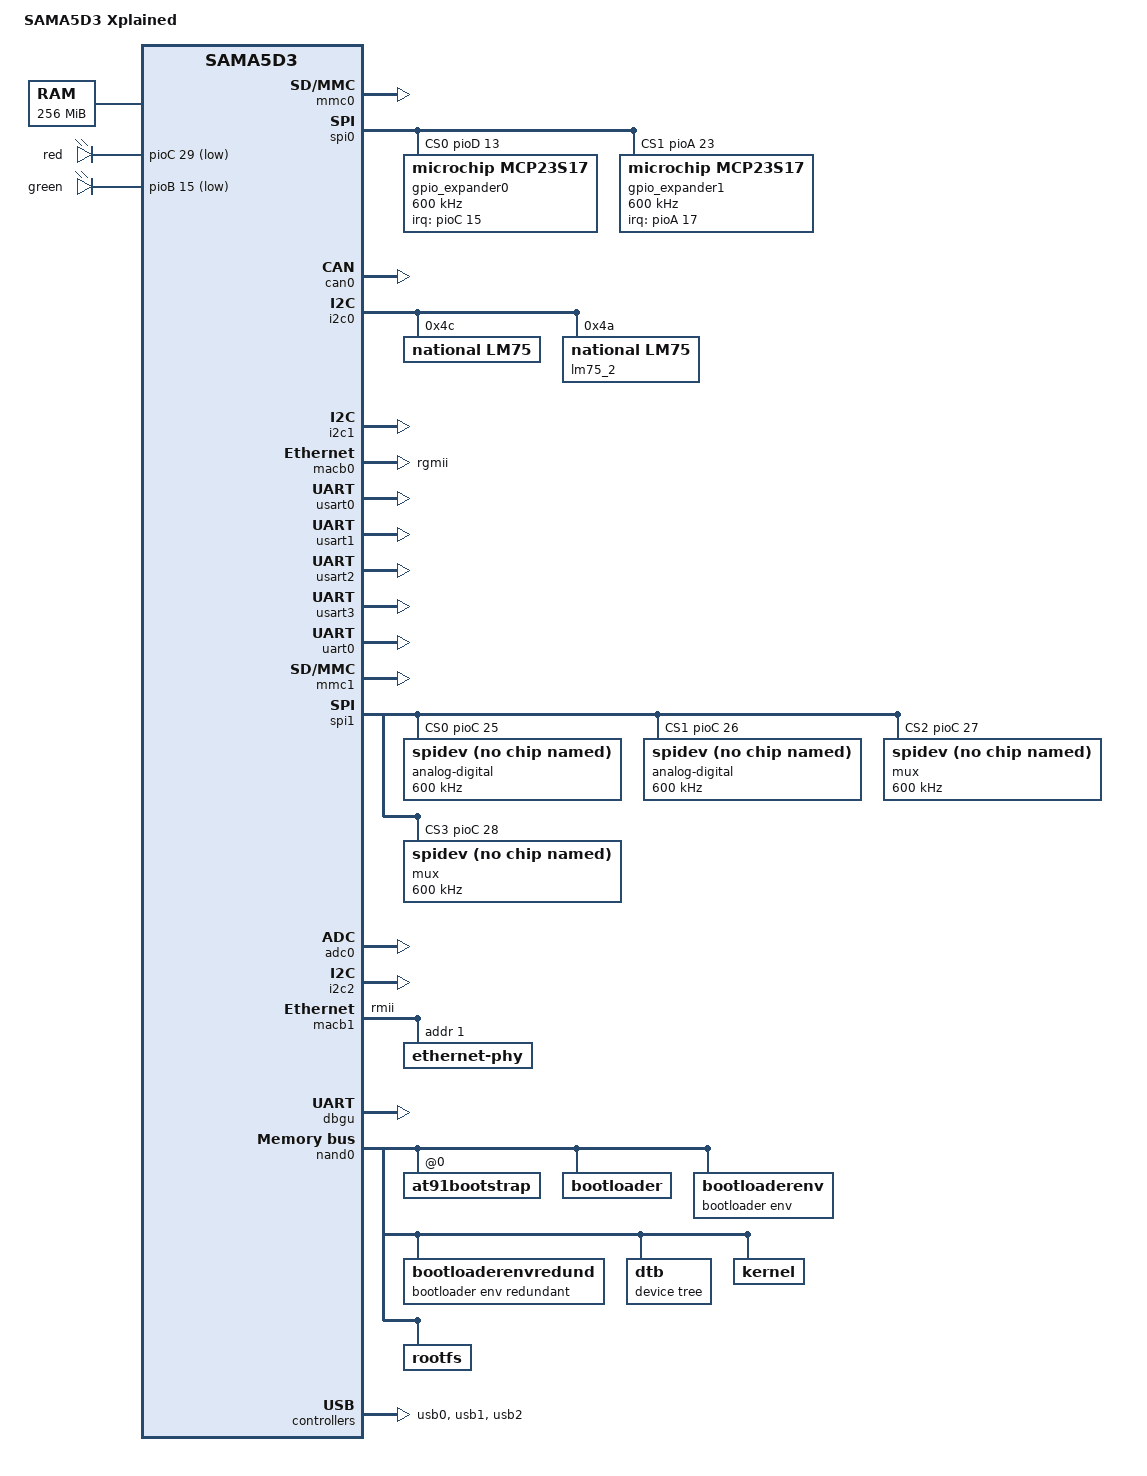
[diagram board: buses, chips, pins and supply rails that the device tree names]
/*
 * rctu.dts - for RCTU
 *
 *  Copyright (C) 2014 Atmel,
 *		  2014 Nicolas Ferre <nicolas.ferre@atmel.com>
 *
 * Licensed under GPLv2 or later.
 */
/dts-v1/;
#include "sama5d36.dtsi"

/ {
	model = "SAMA5D3 Xplained";
	compatible = "atmel,sama5d3-xplained", "atmel,sama5d3", "atmel,sama5";

	chosen {
		bootargs = "console=ttyS0,115200";
	};

	memory {
		reg = <0x20000000 0x10000000>;
	};

	clocks {
		slow_xtal {
			clock-frequency = <32768>;
		};
		
		main_xtal { 
			clock-frequency = <12000000>;
		};
	};

	ahb {
		apb {
			mmc0: mmc@f0000000 {
				pinctrl-0 = <&pinctrl_mmc0_clk_cmd_dat0 &pinctrl_mmc0_dat1_3 &pinctrl_mmc0_dat4_7 &pinctrl_mmc0_cd>;
				status = "okay";
				slot@0 {
					reg = <0>;
					bus-width = <8>;
					//cd-gpios = <&pioE 0 GPIO_ACTIVE_LOW>;
				};
			};

			spi0: spi@f0004000 {
				cs-gpios = <&pioD 13 0>, <&pioA 23 0>;
				status = "okay";

				gpio_expander0: microchip@0 {
					compatible = "microchip,mcp23s17";
					#gpio-cells = <2>;
					gpio-controller;
					spi-max-frequency = <600000>;
					reg = <0>;
					microchip,spi-present-mask=<2>;
					microchip,irq-mirror;
					interrupt-controller;
					interrupt-parent = <&pioC>;
					interrupts = <15 IRQ_TYPE_LEVEL_LOW>;
					#interrupt-cells=<2>;
				};

				gpio_expander1: microchip@1 {
					compatible = "microchip,mcp23s17";
					#gpio-cells = <2>;
					gpio-controller;
					spi-max-frequency = <600000>;
					reg = <1>;
					microchip,spi-present-mask=<1>;
					microchip,irq-mirror;
					interrupt-controller;
					interrupt-parent = <&pioA>;
					interrupts = <17 IRQ_TYPE_LEVEL_LOW>;
					#interrupt-cells=<2>;
				};
			};

			can0: can@f000c000 {
				status = "okay";
			};

			i2c0: i2c@f0014000 {
				status = "okay";

				lm75: lm75@4c {
					/* I don't know why this string is 'national,lm75'.
					 * There's no .compatible in the I2C driver for it,
					 * so I'm not sure how it's getting probed.  It does
					 * work though, so i dunno */
					compatible = "national,lm75";
					reg = <0x4c>;
				};
				lm75_2: lm75@4a {
					/* Cold junction temperature sensor */
					compatible = "national,lm75";
					reg = <0x4a>;
				};
			};

			i2c1: i2c@f0018000 {
				status = "okay";
			};

			macb0: ethernet@f0028000 {
				phy-mode = "rgmii";
				status = "okay";
			};

			usart0: serial@f001c000 {
				pinctrl-0 = <&pinctrl_usart0 &pinctrl_usart0_rts_cts>;
				status = "okay";
			};

			usart1: serial@f0020000 {
				pinctrl-0 = <&pinctrl_usart1 &pinctrl_usart1_rts_cts>;
				status = "okay";
			};

			usart2: serial@f8020000 {
				pinctrl-0 = <&pinctrl_usart2 &pinctrl_usart2_rts_cts>;
				status = "okay";
			};

			usart3: serial@f8024000 {
				pinctrl-0 = <&pinctrl_usart3 &pinctrl_usart3_rts_cts>;
				status = "okay";
			};

			uart0: serial@f0024000 {
				status = "okay";
			};

			mmc1: mmc@f8000000 {
				pinctrl-0 = <&pinctrl_mmc1_clk_cmd_dat0 &pinctrl_mmc1_dat1_3 &pinctrl_mmc1_cd>;
				status = "okay";
				slot@0 {
					reg = <0>;
					bus-width = <4>;
					//cd-gpios = <&pioE 1 GPIO_ACTIVE_HIGH>;
				};
			};

			spi1: spi@f8008000 {
				/* Default chip select lines */
				cs-gpios = <&pioC 25 0>, <&pioC 26 0>, <&pioC 27 0>, <&pioC 28 0>;
				status = "okay";
				analog-digital@0{
					compatible = "spidev";
					spi-max-frequency = <600000>;
					reg = <0>;
				};

				analog-digital@1{
					compatible = "spidev";
					spi-max-frequency = <600000>;
					reg = <1>;
				};

				mux@2{
					compatible = "spidev";
					spi-max-frequency = <600000>;
					reg = <2>;
				};

				mux@3{
					compatible = "spidev";
					spi-max-frequency = <600000>;
					reg = <3>;
				};

			};

			adc0: adc@f8018000 {
				pinctrl-0 = <
					&pinctrl_adc0_adtrg
					&pinctrl_adc0_ad0
					&pinctrl_adc0_ad1
					&pinctrl_adc0_ad2
					&pinctrl_adc0_ad3
					&pinctrl_adc0_ad4
					&pinctrl_adc0_ad5
					&pinctrl_adc0_ad6
					&pinctrl_adc0_ad7
					>;
				status = "okay";
				//atmel,adc-channels-used = <0x0ff>;
				/* this trgper value should give us ~2000 interrupts per second */
				atmel,adc-trgper = <1500>;
			};

			i2c2: i2c@f801c000 {
				dmas = <0>, <0>;	/* Do not use DMA for i2c2 */
				status = "okay";
			};

			macb1: ethernet@f802c000 {
				phy-mode = "rmii";
				#address-cells = <1>;
				#size-cells = <0>;
				status = "okay";

				ethernet-phy@1 {
					reg = <0x1>;
				};
			};

			dbgu: serial@ffffee00 {
				status = "okay";
			};

			pinctrl@fffff200 {
				board {
					pinctrl_mmc0_cd: mmc0_cd {
						atmel,pins =
							<AT91_PIOE 0 AT91_PERIPH_GPIO AT91_PINCTRL_PULL_UP_DEGLITCH>;
					};

					pinctrl_mmc1_cd: mmc1_cd {
						atmel,pins =
							<AT91_PIOE 1 AT91_PERIPH_GPIO AT91_PINCTRL_PULL_UP_DEGLITCH>;
					};

					pinctrl_foo: foo {
						atmel,pins =
							<AT91_PIOE 14 AT91_PERIPH_GPIO AT91_PINCTRL_NONE>;
					};

				//	pinctrl_usba_vbus: usba_vbus {
				//		atmel,pins =
				//			<AT91_PIOE 9 AT91_PERIPH_GPIO AT91_PINCTRL_DEGLITCH>;	/* PE9, conflicts with A9 */
				//	};
				};
			};

			pmc: pmc@fffffc00 {
				main: mainck {
					clock-frequency = <12000000>;
				};
			};
		};

		nand0: nand@60000000 {
			nand-bus-width = <8>;
			nand-ecc-mode = "hw";
			atmel,has-pmecc;
			atmel,pmecc-cap = <4>;
			atmel,pmecc-sector-size = <512>;
			nand-on-flash-bbt;
			status = "okay";

			at91bootstrap@0 {
				label = "at91bootstrap";
				reg = <0x0 0x40000>;
			};

			bootloader@40000 {
				label = "bootloader";
				reg = <0x40000 0x80000>;
			};

			bootloaderenv@c0000 {
				label = "bootloader env";
				reg = <0xc0000 0x40000>;
			};

			bootloaderenvredund@100000 {
				label = "bootloader env redundant";
				reg = <0x100000 0x40000>;
			};

			dtb@180000 {
				label = "device tree";
				reg = <0x180000 0x80000>;
			};

			kernel@200000 {
				label = "kernel";
				reg = <0x200000 0x600000>;
			};

			rootfs@800000 {
				label = "rootfs";
				reg = <0x800000 0x0f800000>;
			};
		};

		usb0: gadget@00500000 {
			//atmel,vbus-gpio = <&pioE 9 GPIO_ACTIVE_HIGH>;	/* PE9, conflicts with A9 */
			//pinctrl-names = "default";
			//pinctrl-0 = <&pinctrl_usba_vbus>;
			status = "okay";
		};

		usb1: ohci@00600000 {
			num-ports = <3>;
			status = "okay";
		};

		usb2: ehci@00700000 {
			status = "okay";
		};
	};

	leds {
		compatible = "gpio-leds";

		red {
			label = "red";
			gpios = <&pioC 29 GPIO_ACTIVE_LOW>;
			linux,default-trigger = "heartbeat";
		};

		green {
			label = "green";
			gpios = <&pioB 15 GPIO_ACTIVE_LOW>;
		};
	};
};
